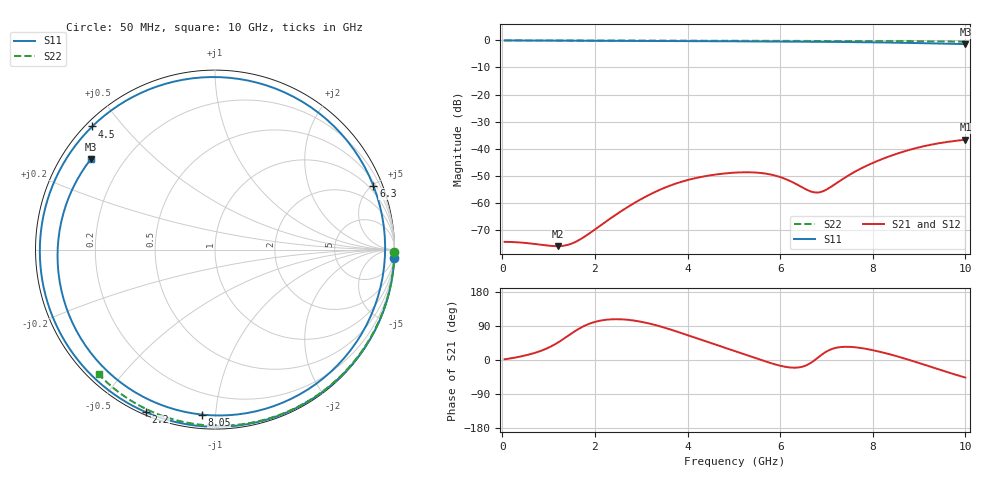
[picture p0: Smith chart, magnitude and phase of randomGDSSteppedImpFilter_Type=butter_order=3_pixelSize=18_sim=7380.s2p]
! freq	dB(S11)	phase(S11)	dB(S12)	phase(S12)
!  dB(S21)	phase(S21)	dB(S22)	phase(S22)
!S-par simulation data
#  GHz  S  DB  R 50
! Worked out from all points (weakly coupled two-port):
!   200 points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, 50 MHz to 10 GHz, reference 50 ohm
!   highest |S21| = -36.70 dB at 10 GHz (marker M1); lowest = -76.1 dB at 1.2 GHz (marker M2)
!   lowest |S11| = -1.4 dB at 10 GHz (marker M3), VSWR 12.89, Z = 4.29 + j16.2 ohm
!   |S11| at or under -10 dB: nowhere
!   |S22| runs from -0.4 to 0.0 dB; largest |S21 - S12| = 0
!   S11 on the Smith chart (normalised r, x): 50 MHz: 0, -42; 2.2 GHz: 0.01, -0.66; 4.5 GHz: 0.02, +0.41; 6.3 GHz: 0.68, +5.08; 8.05 GHz: 0.07, -0.92; 10 GHz: 0.09, +0.32
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0.05  -0.00 -2.7  -74.48 2.1  -74.48 2.1  -0.00 -0.8
0.6  -0.02 -32.4  -75.06 15.2  -75.06 15.2  -0.01 -9.2
1.2  -0.07 -63.8  -76.08 46.0  -76.08 46.0  -0.02 -18.2
1.75  -0.11 -91.4  -72.86 88.8  -72.86 88.8  -0.03 -26.4
2.2  -0.14 -113.0  -67.44 105.6  -67.44 105.6  -0.04 -33.0
2.85  -0.17 -143.6  -60.13 104.0  -60.13 104.0  -0.05 -42.5
3.4  -0.20 -169.6  -55.24 89.0  -55.24 89.0  -0.07 -50.3
3.95  -0.23 163.6  -51.86 67.6  -51.86 67.6  -0.08 -58.0
4.5  -0.28 134.9  -49.85 44.9  -49.85 44.9  -0.09 -65.5
5.05  -0.32 103.6  -48.85 22.4  -48.85 22.4  -0.11 -72.8
5.65  -0.37 66.0  -49.16 -2.4  -49.16 -2.4  -0.13 -80.6
6.3  -0.43 21.9  -52.68 -20.3  -52.68 -20.3  -0.16 -88.9
6.7  -0.47 -5.8  -56.04 -4.5  -56.04 -4.5  -0.18 -93.9
6.95  -0.50 -23.0  -55.58 18.4  -55.58 18.4  -0.19 -96.9
7.4  -0.57 -53.2  -50.70 34.9  -50.70 34.9  -0.22 -102.4
7.7  -0.63 -72.6  -47.75 32.4  -47.75 32.4  -0.24 -106.0
8.05  -0.70 -94.6  -44.93 24.6  -44.93 24.6  -0.27 -110.2
8.35  -0.78 -113.1  -42.91 15.6  -42.91 15.6  -0.29 -113.7
8.8  -0.92 -140.5  -40.42 -0.3  -40.42 -0.3  -0.33 -119.0
9.2  -1.06 -165.1  -38.75 -15.9  -38.75 -15.9  -0.36 -123.6
9.6  -1.21 169.8  -37.55 -31.6  -37.55 -31.6  -0.40 -128.3
10  -1.35 143.9  -36.70 -46.3  -36.70 -46.3  -0.45 -133.0
